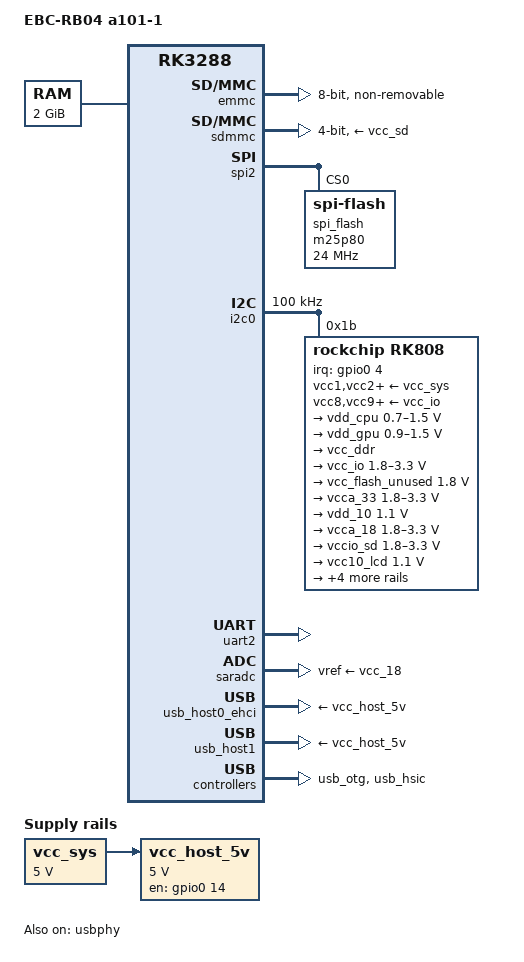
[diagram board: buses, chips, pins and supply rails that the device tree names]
/*
 * (C) Copyright 2018 Advantech Co., Ltd
 *
 * SPDX-License-Identifier:     GPL-2.0+ X11
 */

/dts-v1/;
#include "rk3288.dtsi"
#include "rk3288-u-boot.dtsi"
#include <dt-bindings/input/input.h>

/ {
	compatible = "rockchip,rk3288-rb04", "rockchip,rk3288";
	model = "EBC-RB04 a101-1";

	chosen {
		stdout-path = &uart2;
	};
	
	memory {
		reg = <0x0 0x80000000>;
		device_type = "memory";
	};

	vcc_sys: vsys-regulator {
		compatible = "regulator-fixed";
		regulator-name = "vcc_sys";
		regulator-min-microvolt = <5000000>;
		regulator-max-microvolt = <5000000>;
		regulator-always-on;
		regulator-boot-on;
	};

	vcc_host_5v: usb-host-regulator {
		compatible = "regulator-fixed";
		enable-active-high;
		gpio = <&gpio0 14 GPIO_ACTIVE_HIGH>;
		pinctrl-names = "default";
		pinctrl-0 = <&host_vbus_drv>;
		regulator-name = "vcc_host_5v";
		regulator-min-microvolt = <5000000>;
		regulator-max-microvolt = <5000000>;
		regulator-always-on;
		vin-supply = <&vcc_sys>;
	};
};

&dmc {
	rockchip,pctl-timing = <0x215 0xc8 0x0 0x35 0x26 0x2 0x70 0x2000d
		0x6 0x0 0x8 0x4 0x17 0x24 0xd 0x6
		0x4 0x8 0x4 0x76 0x4 0x0 0x30 0x0
		0x1 0x2 0x2 0x4 0x0 0x0 0xc0 0x4
		0x8 0x1f4>;
	rockchip,phy-timing = <0x48d7dd93 0x187008d8 0x121076
		0x0 0xc3 0x6 0x2>;
	rockchip,sdram-params = <0x20d266a4 0x5b6 2 533000000 6 9 0>;
};

&cpu0 {
	cpu0-supply = <&vdd_cpu>;
};

&emmc {
	bus-width = <8>;
	cap-mmc-highspeed;
	disable-wp;
	non-removable;
	num-slots = <1>;
	pinctrl-names = "default";
	pinctrl-0 = <&emmc_clk &emmc_cmd &emmc_pwr &emmc_bus8>;
	status = "okay";
	u-boot,dm-pre-reloc;
};

&sdmmc {
	supports-sd;
	bus-width = <4>;
	cap-mmc-highspeed;
	cap-sd-highspeed;
	card-detect-delay = <200>;
	disable-wp;
	num-slots = <1>;
	pinctrl-names = "default";
	pinctrl-0 = <&sdmmc_clk &sdmmc_cmd &sdmmc_cd &sdmmc_bus4>;
	status = "okay";
	vmmc-supply = <&vcc_sd>;
	vqmmc-supply = <&vccio_sd>;
	u-boot,dm-pre-reloc;
};

&gpio0 {
	u-boot,dm-pre-reloc;
};

&gpio1 {
	u-boot,dm-pre-reloc;
};

&gpio2 {
	u-boot,dm-pre-reloc;
};

&spi2 {
	status = "okay";
	u-boot,dm-pre-reloc;
	pinctrl-0 = <&spi2_clk &spi2_tx &spi2_rx &spi2_cs0>;
	spi-max-frequency = <48000000>;
	spi_flash:m25p80@0 {
		compatible = "spi-flash";
		spi-max-frequency = <24000000>;
		reg = <0>;	/* CS address. */
		//spi-cpol;
		//spi-cpha;
	};
};

&i2c0 {
	status = "okay";
	clock-frequency = <100000>;

	rk808: pmic@1b {
		compatible = "rockchip,rk808";
		reg = <0x1b>;
		interrupt-parent = <&gpio0>;
		interrupts = <4 IRQ_TYPE_LEVEL_LOW>;
		pinctrl-names = "default";
		pinctrl-0 = <&pmic_int &global_pwroff>;
		rockchip,system-power-controller;
		wakeup-source;
		#clock-cells = <1>;
		clock-output-names = "rk808-clkout1", "rk808-clkout2";

		vcc1-supply = <&vcc_sys>;
		vcc2-supply = <&vcc_sys>;
		vcc3-supply = <&vcc_sys>;
		vcc4-supply = <&vcc_sys>;
		vcc6-supply = <&vcc_sys>;
		vcc7-supply = <&vcc_sys>;
		vcc8-supply = <&vcc_io>;
		vcc9-supply = <&vcc_io>;
		vcc10-supply = <&vcc_io>;
		vcc11-supply = <&vcc_io>;
		vcc12-supply = <&vcc_io>;
		vddio-supply = <&vcc_io>;

		regulators {
			vdd_cpu: DCDC_REG1 {
				regulator-always-on;
				regulator-boot-on;
				regulator-min-microvolt = <700000>;
				regulator-max-microvolt = <1500000>;
				regulator-name = "vdd_arm";
				regulator-state-mem {
					regulator-off-in-suspend;
				};
			};

			vdd_gpu: DCDC_REG2 {
				regulator-always-on;
				regulator-boot-on;
				regulator-min-microvolt = <900000>;
				regulator-max-microvolt = <1500000>;
				regulator-name = "vdd_gpu";
				regulator-ramp-delay = <6000>;
				regulator-state-mem {
					regulator-off-in-suspend;
				};
			};

			vcc_ddr: DCDC_REG3 {
				regulator-always-on;
				regulator-boot-on;
				regulator-name = "vcc_ddr";
				regulator-state-mem {
					regulator-on-in-suspend;
				};
			};

			vcc_io: DCDC_REG4 {
				regulator-always-on;
				regulator-boot-on;
				regulator-min-microvolt = <1800000>;
				regulator-max-microvolt = <3300000>;
				regulator-name = "vcc_io";
				regulator-state-mem {
					regulator-on-in-suspend;
					regulator-suspend-microvolt = <3300000>;
				};
			};

			vcc_flash_unused: LDO_REG1 {
				//regulator-always-on;
				//regulator-boot-on;
				regulator-min-microvolt = <1800000>;
				regulator-max-microvolt = <1800000>;
				regulator-name = "vcc_flash_unused";
				regulator-state-mem {
					regulator-off-in-suspend;
				};
			};

			vcca_33: LDO_REG2 {
				regulator-always-on;
				regulator-boot-on;
				regulator-min-microvolt = <1800000>;
				regulator-init-microvolt = <3300000>;
				regulator-max-microvolt = <3300000>;
				regulator-name = "vcca_33";
				regulator-state-mem {
					regulator-off-in-suspend;
				};
			};

			vdd_10: LDO_REG3 {
				regulator-always-on;
				regulator-boot-on;
				regulator-min-microvolt = <1100000>;
				regulator-init-microvolt = <1100000>;
				regulator-max-microvolt = <1100000>;
				regulator-name = "vdd_10";
				regulator-state-mem {
					regulator-on-in-suspend;
					regulator-suspend-microvolt = <1000000>;
				};
			};

			vcca_18: LDO_REG4 {
				regulator-always-on;
				regulator-boot-on;
				regulator-min-microvolt = <1800000>;
				regulator-init-microvolt = <1800000>;
				regulator-max-microvolt = <3300000>;
				regulator-name = "vcca_18";
				regulator-state-mem {
					regulator-off-in-suspend;
				};
			};

			vccio_sd: LDO_REG5 {
				regulator-always-on;
				regulator-boot-on;
				regulator-min-microvolt = <1800000>;
				regulator-init-microvolt = <3300000>;
				regulator-max-microvolt = <3300000>;
				regulator-name = "vccio_sd";
				regulator-state-mem {
					regulator-on-in-suspend;
					regulator-suspend-microvolt = <3300000>;
				};
			};

			vcc10_lcd: LDO_REG6 {
				regulator-always-on;
				regulator-boot-on;
				regulator-min-microvolt = <1100000>;
				regulator-init-microvolt = <1100000>;
				regulator-max-microvolt = <1100000>;
				regulator-name = "vcc10_lcd";
				regulator-state-mem {
					regulator-off-in-suspend;
				};
			};

			vcc_18: LDO_REG7 {
				regulator-always-on;
				regulator-boot-on;
				regulator-min-microvolt = <1800000>;
				regulator-init-microvolt = <1800000>;
				regulator-max-microvolt = <1800000>;
				regulator-name = "vcc_18";
				regulator-state-mem {
					regulator-on-in-suspend;
					regulator-suspend-microvolt = <1800000>;
				};
			};

			vcc18_lcd: LDO_REG8 {
				regulator-always-on;
				regulator-boot-on;
				regulator-min-microvolt = <1800000>;
				regulator-init-microvolt = <1800000>;
				regulator-max-microvolt = <3300000>;
				regulator-name = "vcc18_lcd";
				regulator-state-mem {
					regulator-off-in-suspend;
				};
			};

			vcc_sd: SWITCH_REG1 {
				regulator-always-on;
				regulator-boot-on;
				regulator-min-microvolt = <3300000>;
				regulator-init-microvolt = <3300000>;
				regulator-max-microvolt = <3300000>;
				regulator-name = "vcc_sd";
				regulator-state-mem {
					regulator-on-in-suspend;
				};
			};

			phy_vddio_unused: SWITCH_REG2 {
				//regulator-always-on;
				//regulator-boot-on;
				regulator-min-microvolt = <3300000>;
				regulator-max-microvolt = <3300000>;
				regulator-name = "phy_vddio_unused";
				regulator-state-mem {
					regulator-off-in-suspend;
				};
			};
		};
	};
};

&uart2 {
	status = "okay";
	u-boot,dm-pre-reloc;
	reg-shift = <2>;
};

&saradc {
	vref-supply = <&vcc_18>;
	status = "okay";
};

&usbphy {
	status = "okay";
};

&usb_host0_ehci {
	status = "okay";
	vbus-supply = <&vcc_host_5v>;
};

&usb_host1 {
	status = "okay";
	vbus-supply = <&vcc_host_5v>;
};

&usb_otg {
	status = "okay";
};

&usb_hsic {
	status = "okay";
};

&pinctrl {
	u-boot,dm-pre-reloc;
	
	pcfg_output_high: pcfg-output-high {
		output-high;
	};

	pcfg_output_low: pcfg-output-low {
		output-low;
	};

	pcfg_pull_none_drv_8ma: pcfg-pull-none-drv-8ma {
		drive-strength = <8>;
	};

	pcfg_pull_up_drv_8ma: pcfg-pull-up-drv-8ma {
		bias-pull-up;
		drive-strength = <8>;
	};

	gmac {
		eth_phy_pwr: eth-phy-pwr {
			rockchip,pins = <4 2 RK_FUNC_GPIO &pcfg_pull_none>;
		};

		eth_phy_rst: eth-phy-rst {
			rockchip,pins = <4 7 RK_FUNC_GPIO &pcfg_pull_none>;
		};
	};

	pmic {
		pmic_int: pmic-int {
			rockchip,pins = <0 4 RK_FUNC_GPIO &pcfg_pull_up>;
		};
	};

	usb {
		host_vbus_drv: host-vbus-drv {
			rockchip,pins = <0 14 RK_FUNC_GPIO &pcfg_pull_none>;
		};

		otg_vbus_drv: otg-vbus-drv {
			rockchip,pins = <0 12 RK_FUNC_GPIO &pcfg_pull_none>;
		};
	};

	sdmmc {
		sdmmc_bus4: sdmmc-bus4 {
			rockchip,pins = <6 16 RK_FUNC_1 &pcfg_pull_up_drv_8ma>,
					<6 17 RK_FUNC_1 &pcfg_pull_up_drv_8ma>,
					<6 18 RK_FUNC_1 &pcfg_pull_up_drv_8ma>,
					<6 19 RK_FUNC_1 &pcfg_pull_up_drv_8ma>;
		};

		sdmmc_clk: sdmmc-clk {
			rockchip,pins = <6 20 RK_FUNC_1 &pcfg_pull_none_drv_8ma>;
		};

		sdmmc_cmd: sdmmc-cmd {
			rockchip,pins = <6 21 RK_FUNC_1 &pcfg_pull_up_drv_8ma>;
		};
	};
};
